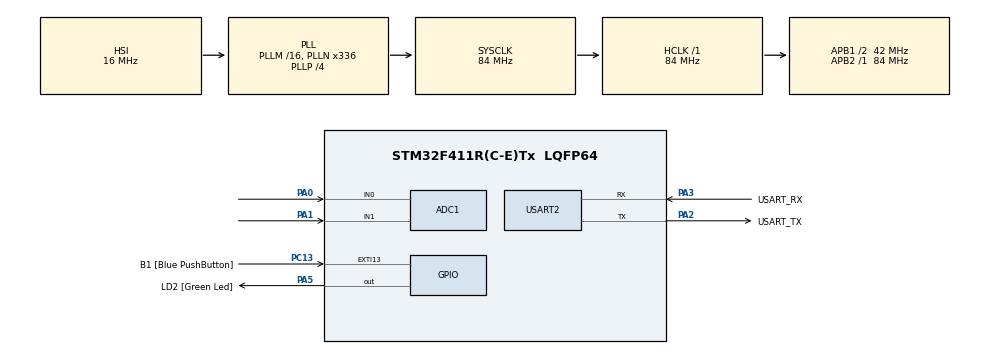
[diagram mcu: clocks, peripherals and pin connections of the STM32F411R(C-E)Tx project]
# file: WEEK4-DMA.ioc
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ADC1.Channel-0\#ChannelRegularConversion=ADC_CHANNEL_0
ADC1.Channel-1\#ChannelRegularConversion=ADC_CHANNEL_1
ADC1.Channel-2\#ChannelRegularConversion=ADC_CHANNEL_TEMPSENSOR
ADC1.Channel-3\#ChannelRegularConversion=ADC_CHANNEL_VREFINT
ADC1.ContinuousConvMode=ENABLE
ADC1.DMAContinuousRequests=ENABLE
ADC1.NbrOfConversion=4
ADC1.NbrOfConversionFlag=1
ADC1.Rank-0\#ChannelRegularConversion=1
ADC1.Rank-1\#ChannelRegularConversion=2
ADC1.Rank-2\#ChannelRegularConversion=3
ADC1.Rank-3\#ChannelRegularConversion=4
ADC1.SamplingTime-0\#ChannelRegularConversion=ADC_SAMPLETIME_480CYCLES
ADC1.SamplingTime-1\#ChannelRegularConversion=ADC_SAMPLETIME_480CYCLES
ADC1.SamplingTime-2\#ChannelRegularConversion=ADC_SAMPLETIME_480CYCLES
ADC1.SamplingTime-3\#ChannelRegularConversion=ADC_SAMPLETIME_480CYCLES
ADC1.ScanConvMode=ENABLE
ADC1.master=1
Dma.ADC1.0.Direction=DMA_PERIPH_TO_MEMORY
Dma.ADC1.0.FIFOMode=DMA_FIFOMODE_DISABLE
Dma.ADC1.0.Instance=DMA2_Stream0
Dma.ADC1.0.MemDataAlignment=DMA_MDATAALIGN_WORD
Dma.ADC1.0.MemInc=DMA_MINC_ENABLE
Dma.ADC1.0.Mode=DMA_CIRCULAR
Dma.ADC1.0.PeriphDataAlignment=DMA_PDATAALIGN_WORD
Dma.ADC1.0.PeriphInc=DMA_PINC_DISABLE
Dma.ADC1.0.Priority=DMA_PRIORITY_LOW
Dma.Request0=ADC1
Mcu.Family=STM32F4
Mcu.Name=STM32F411R(C-E)Tx
Mcu.Package=LQFP64
NVIC.DMA2_Stream0_IRQn=true\:0\:0\:false\:false\:true\:false\:true
NVIC.EXTI15_10_IRQn=true\:0\:0\:false\:false\:true\:true\:true
NVIC.PriorityGroup=NVIC_PRIORITYGROUP_0
PA0-WKUP.Signal=ADCx_IN0
PA1.Signal=ADCx_IN1
PA13.GPIO_Label=TMS
PA13.Mode=Serial_Wire
PA13.Signal=SYS_JTMS-SWDIO
PA14.GPIO_Label=TCK
PA14.Mode=Serial_Wire
PA14.Signal=SYS_JTCK-SWCLK
PA2.GPIO_Label=USART_TX
PA2.Mode=Asynchronous
PA2.Signal=USART2_TX
PA3.GPIO_Label=USART_RX
PA3.Mode=Asynchronous
PA3.Signal=USART2_RX
PA5.GPIO_Label=LD2 [Green Led]
PA5.GPIO_ModeDefaultOutputPP=GPIO_MODE_OUTPUT_PP
PA5.PinState=GPIO_PIN_SET
PA5.Signal=GPIO_Output
PB3.GPIO_Label=SWO
PB3.Signal=SYS_JTDO-SWO
PC13-ANTI_TAMP.GPIO_Label=B1 [Blue PushButton]
PC13-ANTI_TAMP.GPIO_ModeDefaultEXTI=GPIO_MODE_IT_RISING_FALLING
PC13-ANTI_TAMP.GPIO_PuPd=GPIO_PULLUP
PC13-ANTI_TAMP.Signal=GPXTI13
PC14-OSC32_IN.Mode=LSE-External-Oscillator
PC14-OSC32_IN.Signal=RCC_OSC32_IN
PC15-OSC32_OUT.Mode=LSE-External-Oscillator
PC15-OSC32_OUT.Signal=RCC_OSC32_OUT
PH0\ -\ OSC_IN.Mode=HSE-External-Clock-Source
PH0\ -\ OSC_IN.Signal=RCC_OSC_IN
PH1\ -\ OSC_OUT.Mode=HSE-External-Clock-Source
PH1\ -\ OSC_OUT.Signal=RCC_OSC_OUT
ProjectManager.HeapSize=0x200
ProjectManager.StackSize=0x400
ProjectManager.TargetToolchain=STM32CubeIDE
RCC.48MHZClocksFreq_Value=84000000
RCC.AHBFreq_Value=84000000
RCC.APB1CLKDivider=RCC_HCLK_DIV2
RCC.APB1Freq_Value=42000000
RCC.APB1TimFreq_Value=84000000
RCC.APB2Freq_Value=84000000
RCC.APB2TimFreq_Value=84000000
RCC.CortexFreq_Value=84000000
RCC.FLatency-AdvancedSettings=FLASH_LATENCY_2
RCC.HCLKFreq_Value=84000000
RCC.HSE_VALUE=8000000
RCC.HSI_VALUE=16000000
RCC.PLLN=336
RCC.PLLP=RCC_PLLP_DIV4
RCC.SYSCLKFreq_VALUE=84000000
RCC.SYSCLKSource=RCC_SYSCLKSOURCE_PLLCLK
RCC.VCOOutputFreq_Value=336000000
SH.ADCx_IN0.0=ADC1_IN0,IN0
SH.ADCx_IN1.0=ADC1_IN1,IN1
USART2.VirtualMode=VM_ASYNC
VP_ADC1_TempSens_Input.Mode=IN-TempSens
VP_ADC1_Vref_Input.Mode=IN-Vrefint
board=NUCLEO-F411RE

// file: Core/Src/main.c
/* USER CODE BEGIN Header */
/**
 ******************************************************************************
 * @file           : main.c
 * @brief          : Main program body
 ******************************************************************************
 * @attention
 *
 * <h2><center>&copy; Copyright (c) 2021 STMicroelectronics.
 * All rights reserved.</center></h2>
 *
 * This software component is licensed by ST under BSD 3-Clause license,
 * the "License"; You may not use this file except in compliance with the
 * License. You may obtain a copy of the License at:
 *                        opensource.org/licenses/BSD-3-Clause
 *
 ******************************************************************************
 */
/* USER CODE END Header */
#include "main.h"

ADC_HandleTypeDef hadc1;
DMA_HandleTypeDef hdma_adc1;

UART_HandleTypeDef huart2;

/* USER CODE BEGIN PV */
uint32_t ADCData[4] = { 0 };
uint32_t timestamp = 0;
uint16_t state = 0;
uint32_t count = 0;
uint32_t delay = 0;
uint8_t SwitchState[2] = { 0 };
uint32_t ButtonTimeStamp = 0;
int ans = 0;
/* USER CODE END PV */

void SystemClock_Config(void);
static void MX_GPIO_Init(void);
static void MX_DMA_Init(void);
static void MX_USART2_UART_Init(void);
static void MX_ADC1_Init(void);

int main(void) {

	/* MCU Configuration--------------------------------------------------------*/

	/* Reset of all peripherals, Initializes the Flash interface and the Systick. */
	HAL_Init();

	/* Configure the system clock */
	SystemClock_Config();

	/* Initialize all configured peripherals */
	MX_GPIO_Init();
	MX_DMA_Init();
	MX_USART2_UART_Init();
	MX_ADC1_Init();
	/* USER CODE BEGIN 2 */
	HAL_ADC_Start_DMA(&hadc1, ADCData, 4);
	/* USER CODE END 2 */

	/* Infinite loop */
	while (1) {

		/* USER CODE BEGIN 3 */
		if (HAL_GetTick() - ButtonTimeStamp >= 50) //ms
				{
			ButtonTimeStamp = HAL_GetTick();
			SwitchState[0] = HAL_GPIO_ReadPin(GPIOC, GPIO_PIN_13);
			if (SwitchState[1] == GPIO_PIN_SET
					&& SwitchState[0] == GPIO_PIN_RESET) {
				//Change Half Period of LED1
				delay = (1000 + ((22695477 - ADCData[0]) + ADCData[1]) % 10000);
				count = HAL_GetTick();
			}
			SwitchState[1] = SwitchState[0];
			if (HAL_GetTick() >= delay + count) {
				HAL_GPIO_WritePin(GPIOA, GPIO_PIN_5, GPIO_PIN_SET);
			} else {
				HAL_GPIO_WritePin(GPIOA, GPIO_PIN_5, GPIO_PIN_RESET);
			}
		}

	}
	/* USER CODE END 3 */
}

void SystemClock_Config(void) {
	RCC_OscInitTypeDef RCC_OscInitStruct = { 0 };
	RCC_ClkInitTypeDef RCC_ClkInitStruct = { 0 };

	/** Configure the main internal regulator output voltage
	 */
	__HAL_RCC_PWR_CLK_ENABLE();
	__HAL_PWR_VOLTAGESCALING_CONFIG(PWR_REGULATOR_VOLTAGE_SCALE1);
	/** Initializes the RCC Oscillators according to the specified parameters
	 * in the RCC_OscInitTypeDef structure.
	 */
	RCC_OscInitStruct.OscillatorType = RCC_OSCILLATORTYPE_HSI;
	RCC_OscInitStruct.HSIState = RCC_HSI_ON;
	RCC_OscInitStruct.HSICalibrationValue = RCC_HSICALIBRATION_DEFAULT;
	RCC_OscInitStruct.PLL.PLLState = RCC_PLL_ON;
	RCC_OscInitStruct.PLL.PLLSource = RCC_PLLSOURCE_HSI;
	RCC_OscInitStruct.PLL.PLLM = 16;
	RCC_OscInitStruct.PLL.PLLN = 336;
	RCC_OscInitStruct.PLL.PLLP = RCC_PLLP_DIV4;
	RCC_OscInitStruct.PLL.PLLQ = 4;
	if (HAL_RCC_OscConfig(&RCC_OscInitStruct) != HAL_OK) {
		Error_Handler();
	}
	/** Initializes the CPU, AHB and APB buses clocks
	 */
	RCC_ClkInitStruct.ClockType = RCC_CLOCKTYPE_HCLK | RCC_CLOCKTYPE_SYSCLK
			| RCC_CLOCKTYPE_PCLK1 | RCC_CLOCKTYPE_PCLK2;
	RCC_ClkInitStruct.SYSCLKSource = RCC_SYSCLKSOURCE_PLLCLK;
	RCC_ClkInitStruct.AHBCLKDivider = RCC_SYSCLK_DIV1;
	RCC_ClkInitStruct.APB1CLKDivider = RCC_HCLK_DIV2;
	RCC_ClkInitStruct.APB2CLKDivider = RCC_HCLK_DIV1;

	if (HAL_RCC_ClockConfig(&RCC_ClkInitStruct, FLASH_LATENCY_2) != HAL_OK) {
		Error_Handler();
	}
}

static void MX_ADC1_Init(void) {

	ADC_ChannelConfTypeDef sConfig = { 0 };

	/** Configure the global features of the ADC (Clock, Resolution, Data Alignment and number of conversion)
	 */
	hadc1.Instance = ADC1;
	hadc1.Init.ClockPrescaler = ADC_CLOCK_SYNC_PCLK_DIV4;
	hadc1.Init.Resolution = ADC_RESOLUTION_12B;
	hadc1.Init.ScanConvMode = ENABLE;
	hadc1.Init.ContinuousConvMode = ENABLE;
	hadc1.Init.DiscontinuousConvMode = DISABLE;
	hadc1.Init.ExternalTrigConvEdge = ADC_EXTERNALTRIGCONVEDGE_NONE;
	hadc1.Init.ExternalTrigConv = ADC_SOFTWARE_START;
	hadc1.Init.DataAlign = ADC_DATAALIGN_RIGHT;
	hadc1.Init.NbrOfConversion = 4;
	hadc1.Init.DMAContinuousRequests = ENABLE;
	hadc1.Init.EOCSelection = ADC_EOC_SINGLE_CONV;
	if (HAL_ADC_Init(&hadc1) != HAL_OK) {
		Error_Handler();
	}
	/** Configure for the selected ADC regular channel its corresponding rank in the sequencer and its sample time.
	 */
	sConfig.Channel = ADC_CHANNEL_0;
	sConfig.Rank = 1;
	sConfig.SamplingTime = ADC_SAMPLETIME_480CYCLES;
	if (HAL_ADC_ConfigChannel(&hadc1, &sConfig) != HAL_OK) {
		Error_Handler();
	}
	/** Configure for the selected ADC regular channel its corresponding rank in the sequencer and its sample time.
	 */
	sConfig.Channel = ADC_CHANNEL_1;
	sConfig.Rank = 2;
	if (HAL_ADC_ConfigChannel(&hadc1, &sConfig) != HAL_OK) {
		Error_Handler();
	}
	/** Configure for the selected ADC regular channel its corresponding rank in the sequencer and its sample time.
	 */
	sConfig.Channel = ADC_CHANNEL_TEMPSENSOR;
	sConfig.Rank = 3;
	if (HAL_ADC_ConfigChannel(&hadc1, &sConfig) != HAL_OK) {
		Error_Handler();
	}
	/** Configure for the selected ADC regular channel its corresponding rank in the sequencer and its sample time.
	 */
	sConfig.Channel = ADC_CHANNEL_VREFINT;
	sConfig.Rank = 4;
	if (HAL_ADC_ConfigChannel(&hadc1, &sConfig) != HAL_OK) {
		Error_Handler();
	}

}

static void MX_USART2_UART_Init(void) {

	huart2.Instance = USART2;
	huart2.Init.BaudRate = 115200;
	huart2.Init.WordLength = UART_WORDLENGTH_8B;
	huart2.Init.StopBits = UART_STOPBITS_1;
	huart2.Init.Parity = UART_PARITY_NONE;
	huart2.Init.Mode = UART_MODE_TX_RX;
	huart2.Init.HwFlowCtl = UART_HWCONTROL_NONE;
	huart2.Init.OverSampling = UART_OVERSAMPLING_16;
	if (HAL_UART_Init(&huart2) != HAL_OK) {
		Error_Handler();
	}

}

static void MX_DMA_Init(void) {

	/* DMA controller clock enable */
	__HAL_RCC_DMA2_CLK_ENABLE();

	/* DMA interrupt init */
	/* DMA2_Stream0_IRQn interrupt configuration */
	HAL_NVIC_SetPriority(DMA2_Stream0_IRQn, 0, 0);
	HAL_NVIC_EnableIRQ(DMA2_Stream0_IRQn);

}

static void MX_GPIO_Init(void) {
	GPIO_InitTypeDef GPIO_InitStruct = { 0 };

	/* GPIO Ports Clock Enable */
	__HAL_RCC_GPIOC_CLK_ENABLE();
	__HAL_RCC_GPIOH_CLK_ENABLE();
	__HAL_RCC_GPIOA_CLK_ENABLE();
	__HAL_RCC_GPIOB_CLK_ENABLE();

	/*Configure GPIO pin Output Level */
	HAL_GPIO_WritePin(LD2_GPIO_Port, LD2_Pin, GPIO_PIN_SET);

	/*Configure GPIO pin : B1_Pin */
	GPIO_InitStruct.Pin = B1_Pin;
	GPIO_InitStruct.Mode = GPIO_MODE_IT_RISING_FALLING;
	GPIO_InitStruct.Pull = GPIO_PULLUP;
	HAL_GPIO_Init(B1_GPIO_Port, &GPIO_InitStruct);

	/*Configure GPIO pin : LD2_Pin */
	GPIO_InitStruct.Pin = LD2_Pin;
	GPIO_InitStruct.Mode = GPIO_MODE_OUTPUT_PP;
	GPIO_InitStruct.Pull = GPIO_NOPULL;
	GPIO_InitStruct.Speed = GPIO_SPEED_FREQ_LOW;
	HAL_GPIO_Init(LD2_GPIO_Port, &GPIO_InitStruct);

	/* EXTI interrupt init*/
	HAL_NVIC_SetPriority(EXTI15_10_IRQn, 0, 0);
	HAL_NVIC_EnableIRQ(EXTI15_10_IRQn);

}

/* USER CODE BEGIN 4 */
void HAL_GPIO_EXTI_Callback(uint16_t GPIO_Pin) {
	if (HAL_GetTick() - timestamp > 100) {
		if (GPIO_Pin == GPIO_PIN_13) {
			HAL_GPIO_TogglePin(LD2_GPIO_Port, LD2_Pin);
			delay = (1000 + ((22695477 - ADCData[0]) + ADCData[1]) % 10000);
			if (state == 0) {
				state = 1;
				count = HAL_GetTick();
				ans = 0;

			} else if (state == 1) {
				state = 0;
				ans = HAL_GetTick() - count - delay;

			}

		}
		timestamp = HAL_GetTick();
	}
}
/* USER CODE END 4 */

void Error_Handler(void) {
	__disable_irq();
	while (1) {
	}
}

/************************ (C) COPYRIGHT STMicroelectronics *****END OF FILE****/
